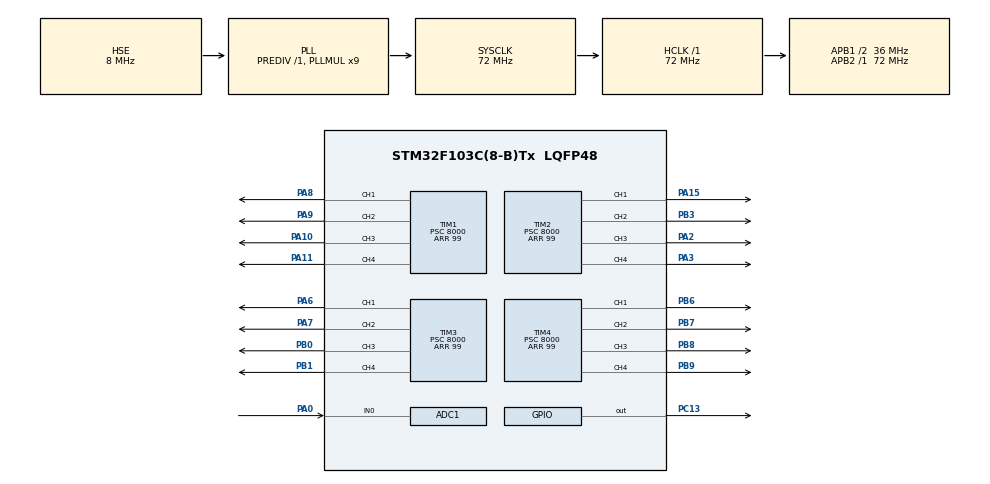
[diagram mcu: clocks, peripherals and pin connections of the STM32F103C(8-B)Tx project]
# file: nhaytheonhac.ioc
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ADC1.Channel-0\#ChannelRegularConversion=ADC_CHANNEL_0
ADC1.ContinuousConvMode=ENABLE
ADC1.NbrOfConversionFlag=1
ADC1.Rank-0\#ChannelRegularConversion=1
ADC1.SamplingTime-0\#ChannelRegularConversion=ADC_SAMPLETIME_239CYCLES_5
ADC1.master=1
Dma.ADC1.0.Direction=DMA_PERIPH_TO_MEMORY
Dma.ADC1.0.Instance=DMA1_Channel1
Dma.ADC1.0.MemDataAlignment=DMA_MDATAALIGN_HALFWORD
Dma.ADC1.0.MemInc=DMA_MINC_ENABLE
Dma.ADC1.0.Mode=DMA_NORMAL
Dma.ADC1.0.PeriphDataAlignment=DMA_PDATAALIGN_HALFWORD
Dma.ADC1.0.PeriphInc=DMA_PINC_DISABLE
Dma.ADC1.0.Priority=DMA_PRIORITY_LOW
Dma.Request0=ADC1
Mcu.Family=STM32F1
Mcu.Name=STM32F103C(8-B)Tx
Mcu.Package=LQFP48
NVIC.DMA1_Channel1_IRQn=true\:0\:0\:false\:false\:true\:false\:true\:true
NVIC.PriorityGroup=NVIC_PRIORITYGROUP_4
PA0-WKUP.Signal=ADCx_IN0
PA10.Signal=S_TIM1_CH3
PA11.Signal=S_TIM1_CH4
PA13.Mode=Serial_Wire
PA13.Signal=SYS_JTMS-SWDIO
PA14.Mode=Serial_Wire
PA14.Signal=SYS_JTCK-SWCLK
PA15.Signal=S_TIM2_CH1_ETR
PA2.Signal=S_TIM2_CH3
PA3.Signal=S_TIM2_CH4
PA6.Signal=S_TIM3_CH1
PA7.Signal=S_TIM3_CH2
PA8.Signal=S_TIM1_CH1
PA9.Signal=S_TIM1_CH2
PB0.Signal=S_TIM3_CH3
PB1.Signal=S_TIM3_CH4
PB3.Signal=S_TIM2_CH2
PB6.Signal=S_TIM4_CH1
PB7.Signal=S_TIM4_CH2
PB8.Signal=S_TIM4_CH3
PB9.Signal=S_TIM4_CH4
PC13-TAMPER-RTC.Signal=GPIO_Output
PD0-OSC_IN.Mode=HSE-External-Oscillator
PD0-OSC_IN.Signal=RCC_OSC_IN
PD1-OSC_OUT.Mode=HSE-External-Oscillator
PD1-OSC_OUT.Signal=RCC_OSC_OUT
ProjectManager.HeapSize=0x200
ProjectManager.StackSize=0x400
ProjectManager.TargetToolchain=MDK-ARM V5.32
RCC.ADCPresc=RCC_ADCPCLK2_DIV6
RCC.AHBFreq_Value=72000000
RCC.APB1CLKDivider=RCC_HCLK_DIV2
RCC.APB1Freq_Value=36000000
RCC.APB1TimFreq_Value=72000000
RCC.APB2Freq_Value=72000000
RCC.APB2TimFreq_Value=72000000
RCC.HCLKFreq_Value=72000000
RCC.PLLMUL=RCC_PLL_MUL9
RCC.PLLSourceVirtual=RCC_PLLSOURCE_HSE
RCC.SYSCLKFreq_VALUE=72000000
RCC.SYSCLKSource=RCC_SYSCLKSOURCE_PLLCLK
RCC.USBFreq_Value=72000000
SH.ADCx_IN0.0=ADC1_IN0,IN0
SH.S_TIM1_CH1.0=TIM1_CH1,PWM Generation1 CH1
SH.S_TIM1_CH2.0=TIM1_CH2,PWM Generation2 CH2
SH.S_TIM1_CH3.0=TIM1_CH3,PWM Generation3 CH3
SH.S_TIM1_CH4.0=TIM1_CH4,PWM Generation4 CH4
SH.S_TIM2_CH1_ETR.0=TIM2_CH1,PWM Generation1 CH1
SH.S_TIM2_CH2.0=TIM2_CH2,PWM Generation2 CH2
SH.S_TIM2_CH3.0=TIM2_CH3,PWM Generation3 CH3
SH.S_TIM2_CH4.0=TIM2_CH4,PWM Generation4 CH4
SH.S_TIM3_CH1.0=TIM3_CH1,PWM Generation1 CH1
SH.S_TIM3_CH2.0=TIM3_CH2,PWM Generation2 CH2
SH.S_TIM3_CH3.0=TIM3_CH3,PWM Generation3 CH3
SH.S_TIM3_CH4.0=TIM3_CH4,PWM Generation4 CH4
SH.S_TIM4_CH1.0=TIM4_CH1,PWM Generation1 CH1
SH.S_TIM4_CH2.0=TIM4_CH2,PWM Generation2 CH2
SH.S_TIM4_CH3.0=TIM4_CH3,PWM Generation3 CH3
SH.S_TIM4_CH4.0=TIM4_CH4,PWM Generation4 CH4
TIM1.Channel-PWM\ Generation1\ CH1=TIM_CHANNEL_1
TIM1.Channel-PWM\ Generation2\ CH2=TIM_CHANNEL_2
TIM1.Channel-PWM\ Generation3\ CH3=TIM_CHANNEL_3
TIM1.Channel-PWM\ Generation4\ CH4=TIM_CHANNEL_4
TIM1.Period=99
TIM1.Prescaler=8000
TIM1.Pulse-PWM\ Generation1\ CH1=25
TIM1.Pulse-PWM\ Generation2\ CH2=25
TIM1.Pulse-PWM\ Generation3\ CH3=25
TIM1.Pulse-PWM\ Generation4\ CH4=25
TIM2.Channel-PWM\ Generation1\ CH1=TIM_CHANNEL_1
TIM2.Channel-PWM\ Generation2\ CH2=TIM_CHANNEL_2
TIM2.Channel-PWM\ Generation3\ CH3=TIM_CHANNEL_3
TIM2.Channel-PWM\ Generation4\ CH4=TIM_CHANNEL_4
TIM2.Period=99
TIM2.Prescaler=8000
TIM2.Pulse-PWM\ Generation1\ CH1=25
TIM2.Pulse-PWM\ Generation2\ CH2=25
TIM2.Pulse-PWM\ Generation3\ CH3=25
TIM2.Pulse-PWM\ Generation4\ CH4=25
TIM3.Channel-PWM\ Generation1\ CH1=TIM_CHANNEL_1
TIM3.Channel-PWM\ Generation2\ CH2=TIM_CHANNEL_2
TIM3.Channel-PWM\ Generation3\ CH3=TIM_CHANNEL_3
TIM3.Channel-PWM\ Generation4\ CH4=TIM_CHANNEL_4
TIM3.Period=99
TIM3.Prescaler=8000
TIM3.Pulse-PWM\ Generation1\ CH1=25
TIM3.Pulse-PWM\ Generation2\ CH2=25
TIM3.Pulse-PWM\ Generation3\ CH3=25
TIM3.Pulse-PWM\ Generation4\ CH4=25
TIM4.Channel-PWM\ Generation1\ CH1=TIM_CHANNEL_1
TIM4.Channel-PWM\ Generation2\ CH2=TIM_CHANNEL_2
TIM4.Channel-PWM\ Generation3\ CH3=TIM_CHANNEL_3
TIM4.Channel-PWM\ Generation4\ CH4=TIM_CHANNEL_4
TIM4.Period=99
TIM4.Prescaler=8000
TIM4.Pulse-PWM\ Generation1\ CH1=25
TIM4.Pulse-PWM\ Generation2\ CH2=25
TIM4.Pulse-PWM\ Generation3\ CH3=25
TIM4.Pulse-PWM\ Generation4\ CH4=25
VP_TIM1_VS_ClockSourceINT.Mode=Internal
VP_TIM2_VS_ClockSourceINT.Mode=Internal
VP_TIM3_VS_ClockSourceINT.Mode=Internal
VP_TIM4_VS_ClockSourceINT.Mode=Internal
board=custom

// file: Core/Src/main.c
/* USER CODE BEGIN Header */
/**
  ******************************************************************************
  * @file           : main.c
  * @brief          : Main program body
  ******************************************************************************
  * @attention
  *
  * Copyright (c) 2024 STMicroelectronics.
  * All rights reserved.
  *
  * This software is licensed under terms that can be found in the LICENSE file
  * in the root directory of this software component.
  * If no LICENSE file comes with this software, it is provided AS-IS.
  *
  ******************************************************************************
  */
/* USER CODE END Header */
#include "main.h"

ADC_HandleTypeDef hadc1;
DMA_HandleTypeDef hdma_adc1;

TIM_HandleTypeDef htim1;
TIM_HandleTypeDef htim2;
TIM_HandleTypeDef htim3;
TIM_HandleTypeDef htim4;

void SystemClock_Config(void);
static void MX_GPIO_Init(void);
static void MX_DMA_Init(void);
static void MX_ADC1_Init(void);
static void MX_TIM1_Init(void);
static void MX_TIM2_Init(void);
static void MX_TIM3_Init(void);
static void MX_TIM4_Init(void);
/* USER CODE BEGIN PFP */

uint16_t adc[1];
int16_t fillter;
int16_t fillter_max;
int16_t max;
/* USER CODE END PFP */

/* USER CODE BEGIN 0 */
void LED15(uint16_t a) { __HAL_TIM_SET_COMPARE(&htim1,TIM_CHANNEL_1, a); }
void LED14(uint16_t a) { __HAL_TIM_SET_COMPARE(&htim1,TIM_CHANNEL_2, a); }
void LED13(uint16_t a) { __HAL_TIM_SET_COMPARE(&htim1,TIM_CHANNEL_3, a); }
void LED12(uint16_t a) { __HAL_TIM_SET_COMPARE(&htim1,TIM_CHANNEL_4, a); }

void LED11(uint16_t a) { __HAL_TIM_SET_COMPARE(&htim3,TIM_CHANNEL_4, a); }
void LED10(uint16_t a) { __HAL_TIM_SET_COMPARE(&htim3,TIM_CHANNEL_3, a); }
void LED9(uint16_t a) { __HAL_TIM_SET_COMPARE(&htim3,TIM_CHANNEL_2, a); }
void LED8(uint16_t a) { __HAL_TIM_SET_COMPARE(&htim3,TIM_CHANNEL_1, a);}

void LED7(uint16_t a) { __HAL_TIM_SET_COMPARE(&htim2,TIM_CHANNEL_4, a); }
void LED6(uint16_t a) { __HAL_TIM_SET_COMPARE(&htim2,TIM_CHANNEL_3, a); }
void LED5(uint16_t a) { __HAL_TIM_SET_COMPARE(&htim2,TIM_CHANNEL_1, a); }
void LED4(uint16_t a) { __HAL_TIM_SET_COMPARE(&htim4,TIM_CHANNEL_1, a);  }

void LED3(uint16_t a) { __HAL_TIM_SET_COMPARE(&htim4,TIM_CHANNEL_2, a); }
void LED2(uint16_t a) { __HAL_TIM_SET_COMPARE(&htim4,TIM_CHANNEL_3, a); }
void LED1(uint16_t a) { __HAL_TIM_SET_COMPARE(&htim4,TIM_CHANNEL_4, a); }

/* USER CODE END 0 */

int main(void)
{

  /* MCU Configuration--------------------------------------------------------*/

  /* Reset of all peripherals, Initializes the Flash interface and the Systick. */
  HAL_Init();

  /* Configure the system clock */
  SystemClock_Config();

  /* Initialize all configured peripherals */
  MX_GPIO_Init();
  MX_DMA_Init();
  MX_ADC1_Init();
  MX_TIM1_Init();
  MX_TIM2_Init();
  MX_TIM3_Init();
  MX_TIM4_Init();
  /* USER CODE BEGIN 2 */
	HAL_TIM_PWM_Start(&htim1, TIM_CHANNEL_1);
	HAL_TIM_PWM_Start(&htim1, TIM_CHANNEL_2);
	HAL_TIM_PWM_Start(&htim1, TIM_CHANNEL_3);
	HAL_TIM_PWM_Start(&htim1, TIM_CHANNEL_4);

	HAL_TIM_PWM_Start(&htim2, TIM_CHANNEL_1);
	HAL_TIM_PWM_Start(&htim2, TIM_CHANNEL_2);
	HAL_TIM_PWM_Start(&htim2, TIM_CHANNEL_3);
	HAL_TIM_PWM_Start(&htim2, TIM_CHANNEL_4);

	HAL_TIM_PWM_Start(&htim3, TIM_CHANNEL_1);
	HAL_TIM_PWM_Start(&htim3, TIM_CHANNEL_2);
	HAL_TIM_PWM_Start(&htim3, TIM_CHANNEL_3);
	HAL_TIM_PWM_Start(&htim3, TIM_CHANNEL_4);

	HAL_TIM_PWM_Start(&htim4, TIM_CHANNEL_1);
	HAL_TIM_PWM_Start(&htim4, TIM_CHANNEL_2);
	HAL_TIM_PWM_Start(&htim4, TIM_CHANNEL_3);
	HAL_TIM_PWM_Start(&htim4, TIM_CHANNEL_4);
  /* USER CODE END 2 */

  /* Infinite loop */
  while (1)
  {
		HAL_ADC_Start_DMA(&hadc1, (uint32_t*)adc, 1);
		fillter = (adc[0] - 2077)/8;
		if(fillter > fillter_max) fillter_max = fillter;

		if(fillter < 0) fillter = 0;
		max = fillter/30;
		if(max < 0) max = 0;
		else if (max > 100) max = 100;

		LED1(fillter/2);
		LED2(fillter/3);
		LED3(fillter/4);
		LED4(fillter/5);

		LED5(fillter/6);
		LED6(fillter/7);
		LED7(fillter/8);
		LED8(fillter/9);

		LED9(fillter/10);
		LED10(fillter/11);
		LED11(fillter/12);
		LED12(fillter/13);

		LED13(fillter/14);
		LED14(fillter/15);
		LED15(fillter/16);

  }
}

void SystemClock_Config(void)
{
  RCC_OscInitTypeDef RCC_OscInitStruct = {0};
  RCC_ClkInitTypeDef RCC_ClkInitStruct = {0};
  RCC_PeriphCLKInitTypeDef PeriphClkInit = {0};

  /** Initializes the RCC Oscillators according to the specified parameters
  * in the RCC_OscInitTypeDef structure.
  */
  RCC_OscInitStruct.OscillatorType = RCC_OSCILLATORTYPE_HSE;
  RCC_OscInitStruct.HSEState = RCC_HSE_ON;
  RCC_OscInitStruct.HSEPredivValue = RCC_HSE_PREDIV_DIV1;
  RCC_OscInitStruct.HSIState = RCC_HSI_ON;
  RCC_OscInitStruct.PLL.PLLState = RCC_PLL_ON;
  RCC_OscInitStruct.PLL.PLLSource = RCC_PLLSOURCE_HSE;
  RCC_OscInitStruct.PLL.PLLMUL = RCC_PLL_MUL9;
  if (HAL_RCC_OscConfig(&RCC_OscInitStruct) != HAL_OK)
  {
    Error_Handler();
  }

  /** Initializes the CPU, AHB and APB buses clocks
  */
  RCC_ClkInitStruct.ClockType = RCC_CLOCKTYPE_HCLK|RCC_CLOCKTYPE_SYSCLK
                              |RCC_CLOCKTYPE_PCLK1|RCC_CLOCKTYPE_PCLK2;
  RCC_ClkInitStruct.SYSCLKSource = RCC_SYSCLKSOURCE_PLLCLK;
  RCC_ClkInitStruct.AHBCLKDivider = RCC_SYSCLK_DIV1;
  RCC_ClkInitStruct.APB1CLKDivider = RCC_HCLK_DIV2;
  RCC_ClkInitStruct.APB2CLKDivider = RCC_HCLK_DIV1;

  if (HAL_RCC_ClockConfig(&RCC_ClkInitStruct, FLASH_LATENCY_2) != HAL_OK)
  {
    Error_Handler();
  }
  PeriphClkInit.PeriphClockSelection = RCC_PERIPHCLK_ADC;
  PeriphClkInit.AdcClockSelection = RCC_ADCPCLK2_DIV6;
  if (HAL_RCCEx_PeriphCLKConfig(&PeriphClkInit) != HAL_OK)
  {
    Error_Handler();
  }
}

static void MX_ADC1_Init(void)
{

  ADC_ChannelConfTypeDef sConfig = {0};

  /** Common config
  */
  hadc1.Instance = ADC1;
  hadc1.Init.ScanConvMode = ADC_SCAN_DISABLE;
  hadc1.Init.ContinuousConvMode = ENABLE;
  hadc1.Init.DiscontinuousConvMode = DISABLE;
  hadc1.Init.ExternalTrigConv = ADC_SOFTWARE_START;
  hadc1.Init.DataAlign = ADC_DATAALIGN_RIGHT;
  hadc1.Init.NbrOfConversion = 1;
  if (HAL_ADC_Init(&hadc1) != HAL_OK)
  {
    Error_Handler();
  }

  /** Configure Regular Channel
  */
  sConfig.Channel = ADC_CHANNEL_0;
  sConfig.Rank = ADC_REGULAR_RANK_1;
  sConfig.SamplingTime = ADC_SAMPLETIME_239CYCLES_5;
  if (HAL_ADC_ConfigChannel(&hadc1, &sConfig) != HAL_OK)
  {
    Error_Handler();
  }

}

static void MX_TIM1_Init(void)
{

  TIM_ClockConfigTypeDef sClockSourceConfig = {0};
  TIM_MasterConfigTypeDef sMasterConfig = {0};
  TIM_OC_InitTypeDef sConfigOC = {0};
  TIM_BreakDeadTimeConfigTypeDef sBreakDeadTimeConfig = {0};

  htim1.Instance = TIM1;
  htim1.Init.Prescaler = 8000;
  htim1.Init.CounterMode = TIM_COUNTERMODE_UP;
  htim1.Init.Period = 99;
  htim1.Init.ClockDivision = TIM_CLOCKDIVISION_DIV1;
  htim1.Init.RepetitionCounter = 0;
  htim1.Init.AutoReloadPreload = TIM_AUTORELOAD_PRELOAD_DISABLE;
  if (HAL_TIM_Base_Init(&htim1) != HAL_OK)
  {
    Error_Handler();
  }
  sClockSourceConfig.ClockSource = TIM_CLOCKSOURCE_INTERNAL;
  if (HAL_TIM_ConfigClockSource(&htim1, &sClockSourceConfig) != HAL_OK)
  {
    Error_Handler();
  }
  if (HAL_TIM_PWM_Init(&htim1) != HAL_OK)
  {
    Error_Handler();
  }
  sMasterConfig.MasterOutputTrigger = TIM_TRGO_RESET;
  sMasterConfig.MasterSlaveMode = TIM_MASTERSLAVEMODE_DISABLE;
  if (HAL_TIMEx_MasterConfigSynchronization(&htim1, &sMasterConfig) != HAL_OK)
  {
    Error_Handler();
  }
  sConfigOC.OCMode = TIM_OCMODE_PWM1;
  sConfigOC.Pulse = 25;
  sConfigOC.OCPolarity = TIM_OCPOLARITY_HIGH;
  sConfigOC.OCNPolarity = TIM_OCNPOLARITY_HIGH;
  sConfigOC.OCFastMode = TIM_OCFAST_DISABLE;
  sConfigOC.OCIdleState = TIM_OCIDLESTATE_RESET;
  sConfigOC.OCNIdleState = TIM_OCNIDLESTATE_RESET;
  if (HAL_TIM_PWM_ConfigChannel(&htim1, &sConfigOC, TIM_CHANNEL_1) != HAL_OK)
  {
    Error_Handler();
  }
  if (HAL_TIM_PWM_ConfigChannel(&htim1, &sConfigOC, TIM_CHANNEL_2) != HAL_OK)
  {
    Error_Handler();
  }
  if (HAL_TIM_PWM_ConfigChannel(&htim1, &sConfigOC, TIM_CHANNEL_3) != HAL_OK)
  {
    Error_Handler();
  }
  if (HAL_TIM_PWM_ConfigChannel(&htim1, &sConfigOC, TIM_CHANNEL_4) != HAL_OK)
  {
    Error_Handler();
  }
  sBreakDeadTimeConfig.OffStateRunMode = TIM_OSSR_DISABLE;
  sBreakDeadTimeConfig.OffStateIDLEMode = TIM_OSSI_DISABLE;
  sBreakDeadTimeConfig.LockLevel = TIM_LOCKLEVEL_OFF;
  sBreakDeadTimeConfig.DeadTime = 0;
  sBreakDeadTimeConfig.BreakState = TIM_BREAK_DISABLE;
  sBreakDeadTimeConfig.BreakPolarity = TIM_BREAKPOLARITY_HIGH;
  sBreakDeadTimeConfig.AutomaticOutput = TIM_AUTOMATICOUTPUT_DISABLE;
  if (HAL_TIMEx_ConfigBreakDeadTime(&htim1, &sBreakDeadTimeConfig) != HAL_OK)
  {
    Error_Handler();
  }
  HAL_TIM_MspPostInit(&htim1);

}

static void MX_TIM2_Init(void)
{

  TIM_ClockConfigTypeDef sClockSourceConfig = {0};
  TIM_MasterConfigTypeDef sMasterConfig = {0};
  TIM_OC_InitTypeDef sConfigOC = {0};

  htim2.Instance = TIM2;
  htim2.Init.Prescaler = 8000;
  htim2.Init.CounterMode = TIM_COUNTERMODE_UP;
  htim2.Init.Period = 99;
  htim2.Init.ClockDivision = TIM_CLOCKDIVISION_DIV1;
  htim2.Init.AutoReloadPreload = TIM_AUTORELOAD_PRELOAD_DISABLE;
  if (HAL_TIM_Base_Init(&htim2) != HAL_OK)
  {
    Error_Handler();
  }
  sClockSourceConfig.ClockSource = TIM_CLOCKSOURCE_INTERNAL;
  if (HAL_TIM_ConfigClockSource(&htim2, &sClockSourceConfig) != HAL_OK)
  {
    Error_Handler();
  }
  if (HAL_TIM_PWM_Init(&htim2) != HAL_OK)
  {
    Error_Handler();
  }
  sMasterConfig.MasterOutputTrigger = TIM_TRGO_RESET;
  sMasterConfig.MasterSlaveMode = TIM_MASTERSLAVEMODE_DISABLE;
  if (HAL_TIMEx_MasterConfigSynchronization(&htim2, &sMasterConfig) != HAL_OK)
  {
    Error_Handler();
  }
  sConfigOC.OCMode = TIM_OCMODE_PWM1;
  sConfigOC.Pulse = 25;
  sConfigOC.OCPolarity = TIM_OCPOLARITY_HIGH;
  sConfigOC.OCFastMode = TIM_OCFAST_DISABLE;
  if (HAL_TIM_PWM_ConfigChannel(&htim2, &sConfigOC, TIM_CHANNEL_1) != HAL_OK)
  {
    Error_Handler();
  }
  if (HAL_TIM_PWM_ConfigChannel(&htim2, &sConfigOC, TIM_CHANNEL_2) != HAL_OK)
  {
    Error_Handler();
  }
  if (HAL_TIM_PWM_ConfigChannel(&htim2, &sConfigOC, TIM_CHANNEL_3) != HAL_OK)
  {
    Error_Handler();
  }
  if (HAL_TIM_PWM_ConfigChannel(&htim2, &sConfigOC, TIM_CHANNEL_4) != HAL_OK)
  {
    Error_Handler();
  }
  HAL_TIM_MspPostInit(&htim2);

}

static void MX_TIM3_Init(void)
{

  TIM_ClockConfigTypeDef sClockSourceConfig = {0};
  TIM_MasterConfigTypeDef sMasterConfig = {0};
  TIM_OC_InitTypeDef sConfigOC = {0};

  htim3.Instance = TIM3;
  htim3.Init.Prescaler = 8000;
  htim3.Init.CounterMode = TIM_COUNTERMODE_UP;
  htim3.Init.Period = 99;
  htim3.Init.ClockDivision = TIM_CLOCKDIVISION_DIV1;
  htim3.Init.AutoReloadPreload = TIM_AUTORELOAD_PRELOAD_DISABLE;
  if (HAL_TIM_Base_Init(&htim3) != HAL_OK)
  {
    Error_Handler();
  }
  sClockSourceConfig.ClockSource = TIM_CLOCKSOURCE_INTERNAL;
  if (HAL_TIM_ConfigClockSource(&htim3, &sClockSourceConfig) != HAL_OK)
  {
    Error_Handler();
  }
  if (HAL_TIM_PWM_Init(&htim3) != HAL_OK)
  {
    Error_Handler();
  }
  sMasterConfig.MasterOutputTrigger = TIM_TRGO_RESET;
  sMasterConfig.MasterSlaveMode = TIM_MASTERSLAVEMODE_DISABLE;
  if (HAL_TIMEx_MasterConfigSynchronization(&htim3, &sMasterConfig) != HAL_OK)
  {
    Error_Handler();
  }
  sConfigOC.OCMode = TIM_OCMODE_PWM1;
  sConfigOC.Pulse = 25;
  sConfigOC.OCPolarity = TIM_OCPOLARITY_HIGH;
  sConfigOC.OCFastMode = TIM_OCFAST_DISABLE;
  if (HAL_TIM_PWM_ConfigChannel(&htim3, &sConfigOC, TIM_CHANNEL_1) != HAL_OK)
  {
    Error_Handler();
  }
  if (HAL_TIM_PWM_ConfigChannel(&htim3, &sConfigOC, TIM_CHANNEL_2) != HAL_OK)
  {
    Error_Handler();
  }
  if (HAL_TIM_PWM_ConfigChannel(&htim3, &sConfigOC, TIM_CHANNEL_3) != HAL_OK)
  {
    Error_Handler();
  }
  if (HAL_TIM_PWM_ConfigChannel(&htim3, &sConfigOC, TIM_CHANNEL_4) != HAL_OK)
  {
    Error_Handler();
  }
  HAL_TIM_MspPostInit(&htim3);

}

static void MX_TIM4_Init(void)
{

  TIM_ClockConfigTypeDef sClockSourceConfig = {0};
  TIM_MasterConfigTypeDef sMasterConfig = {0};
  TIM_OC_InitTypeDef sConfigOC = {0};

  htim4.Instance = TIM4;
  htim4.Init.Prescaler = 8000;
  htim4.Init.CounterMode = TIM_COUNTERMODE_UP;
  htim4.Init.Period = 99;
  htim4.Init.ClockDivision = TIM_CLOCKDIVISION_DIV1;
  htim4.Init.AutoReloadPreload = TIM_AUTORELOAD_PRELOAD_DISABLE;
  if (HAL_TIM_Base_Init(&htim4) != HAL_OK)
  {
    Error_Handler();
  }
  sClockSourceConfig.ClockSource = TIM_CLOCKSOURCE_INTERNAL;
  if (HAL_TIM_ConfigClockSource(&htim4, &sClockSourceConfig) != HAL_OK)
  {
    Error_Handler();
  }
  if (HAL_TIM_PWM_Init(&htim4) != HAL_OK)
  {
    Error_Handler();
  }
  sMasterConfig.MasterOutputTrigger = TIM_TRGO_RESET;
  sMasterConfig.MasterSlaveMode = TIM_MASTERSLAVEMODE_DISABLE;
  if (HAL_TIMEx_MasterConfigSynchronization(&htim4, &sMasterConfig) != HAL_OK)
  {
    Error_Handler();
  }
  sConfigOC.OCMode = TIM_OCMODE_PWM1;
  sConfigOC.Pulse = 25;
  sConfigOC.OCPolarity = TIM_OCPOLARITY_HIGH;
  sConfigOC.OCFastMode = TIM_OCFAST_DISABLE;
  if (HAL_TIM_PWM_ConfigChannel(&htim4, &sConfigOC, TIM_CHANNEL_1) != HAL_OK)
  {
    Error_Handler();
  }
  if (HAL_TIM_PWM_ConfigChannel(&htim4, &sConfigOC, TIM_CHANNEL_2) != HAL_OK)
  {
    Error_Handler();
  }
  if (HAL_TIM_PWM_ConfigChannel(&htim4, &sConfigOC, TIM_CHANNEL_3) != HAL_OK)
  {
    Error_Handler();
  }
  if (HAL_TIM_PWM_ConfigChannel(&htim4, &sConfigOC, TIM_CHANNEL_4) != HAL_OK)
  {
    Error_Handler();
  }
  HAL_TIM_MspPostInit(&htim4);

}

static void MX_DMA_Init(void)
{

  /* DMA controller clock enable */
  __HAL_RCC_DMA1_CLK_ENABLE();

  /* DMA interrupt init */
  /* DMA1_Channel1_IRQn interrupt configuration */
  HAL_NVIC_SetPriority(DMA1_Channel1_IRQn, 0, 0);
  HAL_NVIC_EnableIRQ(DMA1_Channel1_IRQn);

}

static void MX_GPIO_Init(void)
{
  GPIO_InitTypeDef GPIO_InitStruct = {0};

  /* GPIO Ports Clock Enable */
  __HAL_RCC_GPIOC_CLK_ENABLE();
  __HAL_RCC_GPIOD_CLK_ENABLE();
  __HAL_RCC_GPIOA_CLK_ENABLE();
  __HAL_RCC_GPIOB_CLK_ENABLE();

  /*Configure GPIO pin Output Level */
  HAL_GPIO_WritePin(GPIOC, GPIO_PIN_13, GPIO_PIN_RESET);

  /*Configure GPIO pin : PC13 */
  GPIO_InitStruct.Pin = GPIO_PIN_13;
  GPIO_InitStruct.Mode = GPIO_MODE_OUTPUT_PP;
  GPIO_InitStruct.Pull = GPIO_NOPULL;
  GPIO_InitStruct.Speed = GPIO_SPEED_FREQ_LOW;
  HAL_GPIO_Init(GPIOC, &GPIO_InitStruct);

}

void Error_Handler(void)
{
  __disable_irq();
  while (1)
  {
  }
}
